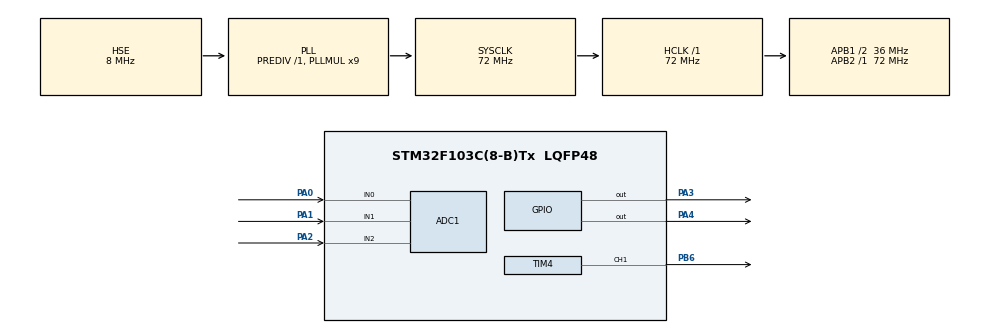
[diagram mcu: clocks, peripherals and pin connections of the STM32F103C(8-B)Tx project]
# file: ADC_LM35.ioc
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ADC1.Channel-0\#ChannelRegularConversion=ADC_CHANNEL_0
ADC1.Channel-1\#ChannelRegularConversion=ADC_CHANNEL_1
ADC1.Channel-2\#ChannelRegularConversion=ADC_CHANNEL_2
ADC1.ContinuousConvMode=ENABLE
ADC1.NbrOfConversion=3
ADC1.NbrOfConversionFlag=1
ADC1.Rank-0\#ChannelRegularConversion=1
ADC1.Rank-1\#ChannelRegularConversion=2
ADC1.Rank-2\#ChannelRegularConversion=3
ADC1.SamplingTime-0\#ChannelRegularConversion=ADC_SAMPLETIME_71CYCLES_5
ADC1.SamplingTime-1\#ChannelRegularConversion=ADC_SAMPLETIME_71CYCLES_5
ADC1.SamplingTime-2\#ChannelRegularConversion=ADC_SAMPLETIME_71CYCLES_5
ADC1.master=1
Mcu.Family=STM32F1
Mcu.Name=STM32F103C(8-B)Tx
Mcu.Package=LQFP48
NVIC.PriorityGroup=NVIC_PRIORITYGROUP_4
PA0-WKUP.Signal=ADCx_IN0
PA1.Signal=ADCx_IN1
PA13.Mode=Serial_Wire
PA13.Signal=SYS_JTMS-SWDIO
PA14.Mode=Serial_Wire
PA14.Signal=SYS_JTCK-SWCLK
PA2.Signal=ADCx_IN2
PA3.Signal=GPIO_Output
PA4.Signal=GPIO_Output
PB6.Signal=S_TIM4_CH1
PD0-OSC_IN.Mode=HSE-External-Oscillator
PD0-OSC_IN.Signal=RCC_OSC_IN
PD1-OSC_OUT.Mode=HSE-External-Oscillator
PD1-OSC_OUT.Signal=RCC_OSC_OUT
ProjectManager.HeapSize=0x200
ProjectManager.StackSize=0x400
ProjectManager.TargetToolchain=STM32CubeIDE
RCC.ADCPresc=RCC_ADCPCLK2_DIV6
RCC.AHBFreq_Value=72000000
RCC.APB1CLKDivider=RCC_HCLK_DIV2
RCC.APB1Freq_Value=36000000
RCC.APB1TimFreq_Value=72000000
RCC.APB2Freq_Value=72000000
RCC.APB2TimFreq_Value=72000000
RCC.HCLKFreq_Value=72000000
RCC.PLLMUL=RCC_PLL_MUL9
RCC.PLLSourceVirtual=RCC_PLLSOURCE_HSE
RCC.SYSCLKFreq_VALUE=72000000
RCC.SYSCLKSource=RCC_SYSCLKSOURCE_PLLCLK
RCC.USBFreq_Value=72000000
SH.ADCx_IN0.0=ADC1_IN0,IN0
SH.ADCx_IN1.0=ADC1_IN1,IN1
SH.ADCx_IN2.0=ADC1_IN2,IN2
SH.S_TIM4_CH1.0=TIM4_CH1,PWM Generation1 CH1
TIM4.AutoReloadPreload=TIM_AUTORELOAD_PRELOAD_ENABLE
TIM4.Channel-PWM\ Generation1\ CH1=TIM_CHANNEL_1
TIM4.Period=1000
TIM4.Prescaler=7200-1
TIM4.Pulse-PWM\ Generation1\ CH1=100
VP_TIM4_VS_ClockSourceINT.Mode=Internal
board=custom

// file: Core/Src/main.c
/* USER CODE BEGIN Header */
/**
  ******************************************************************************
  * @file           : main.c
  * @brief          : Main program body
  ******************************************************************************
  * @attention
  *
  * Copyright (c) 2023 STMicroelectronics.
  * All rights reserved.
  *
  * This software is licensed under terms that can be found in the LICENSE file
  * in the root directory of this software component.
  * If no LICENSE file comes with this software, it is provided AS-IS.
  *
  ******************************************************************************
  */
/* USER CODE END Header */
#include "main.h"

ADC_HandleTypeDef hadc1;

TIM_HandleTypeDef htim4;

/* USER CODE BEGIN PV */
//uint8_t TxData[]="hi";
/* USER CODE END PV */

void SystemClock_Config(void);
static void MX_GPIO_Init(void);
static void MX_ADC1_Init(void);
static void MX_TIM4_Init(void);

/* USER CODE BEGIN 0 */
void ADC_Select_CH0 ()
{
	  ADC_ChannelConfTypeDef sConfig = {0};
	  sConfig.Channel = ADC_CHANNEL_0;
	  sConfig.Rank = ADC_REGULAR_RANK_1;
	  sConfig.SamplingTime = ADC_SAMPLETIME_71CYCLES_5;
	  if (HAL_ADC_ConfigChannel(&hadc1, &sConfig) != HAL_OK)
	  {
	    Error_Handler();
	  }

}

void ADC_Select_CH1 ()
{
	  ADC_ChannelConfTypeDef sConfig = {0};
	  /** Configure Regular Channel
	  */
	  sConfig.Channel = ADC_CHANNEL_1;
	  sConfig.Rank = ADC_REGULAR_RANK_1;
	  if (HAL_ADC_ConfigChannel(&hadc1, &sConfig) != HAL_OK)
	  {
	    Error_Handler();
	  }
}
void ADC_Select_CH2 ()
{
	  ADC_ChannelConfTypeDef sConfig = {0};
	  /** Configure Regular Channel
	  */
	  sConfig.Channel = ADC_CHANNEL_2;
	  sConfig.Rank = ADC_REGULAR_RANK_1;
	  if (HAL_ADC_ConfigChannel(&hadc1, &sConfig) != HAL_OK)
	  {
	    Error_Handler();
	  }

}

uint16_t ADC_Val[3];

//uint16_t readValue;

#define TwoPowerResolution	4096   //12 bit res
//---------------------Temperature sensor----------------------------//
uint8_t temp_val;
#define Temp_Vref 3000
//---------------------voltage sensor----------------------------//
#define Volt_Vref 3.4  //volt
float volt_val;
float volt_divider_val=5;
float volt=0.0;
uint8_t check=0;
uint8_t single_SOC;
uint8_t triple_SOC;
//  R1=8k;
//  R2=2k;

//---------------------current sensor----------------------------//
//website
//https://www.engineersgarage.com/acs712-current-sensor-with-arduino/
//http://www.energiazero.org/arduino_sensori/acs712%2030a%20range%20current%20sensor.pdf
// voltage divider : Vcc = Vout * 2000/3000  R1=1k R2=2k
float current_val;
float current_adc_volt;
float current_adc_raw;

#define Current_Vref 5000  //current
#define current_offset	2500 //Vcc/2
#define current_Sensitivity	185
//-------------------HW protection links---------------------//
//https://www.circuits-diy.com/short-circuit-protection-circuit/

//--------------------motor------------------------------------//
uint16_t  speed=900; //900 to 100

/* USER CODE END 0 */

int main(void)
{

  /* MCU Configuration--------------------------------------------------------*/

  /* Reset of all peripherals, Initializes the Flash interface and the Systick. */
  HAL_Init();

  /* Configure the system clock */
  SystemClock_Config();

  /* Initialize all configured peripherals */
  MX_GPIO_Init();
  MX_ADC1_Init();
  MX_TIM4_Init();
  /* USER CODE BEGIN 2 */
  HAL_TIM_PWM_Start(&htim4,TIM_CHANNEL_1 );
  //Motor initial direction
  HAL_GPIO_WritePin(GPIOA, GPIO_PIN_11, GPIO_PIN_RESET);
  HAL_GPIO_WritePin(GPIOA, GPIO_PIN_12, GPIO_PIN_SET);
  __HAL_TIM_SET_COMPARE(&htim4, TIM_CHANNEL_1, speed);

  /* USER CODE END 2 */

  /* Infinite loop */
  while (1)
  {

    /* USER CODE BEGIN 3 */
	    //------------------------------temperature-----------------------------------//
	    ADC_Select_CH0();
	    HAL_ADC_Start(&hadc1);
		HAL_ADC_PollForConversion(&hadc1,1000);
		ADC_Val[0] = HAL_ADC_GetValue(&hadc1);
		HAL_ADC_Stop(&hadc1);
		temp_val = ((ADC_Val[0]* Temp_Vref )/TwoPowerResolution)/10;	/* LM35 gives output of 10mv/°C */
	    //------------------------------volt-----------------------------------//
		ADC_Select_CH1();
	    HAL_ADC_Start(&hadc1);
	    HAL_ADC_PollForConversion(&hadc1,1000);
	    ADC_Val[1] = HAL_ADC_GetValue(&hadc1);
	    HAL_ADC_Stop(&hadc1);
	    volt = (((float)ADC_Val[1] * Volt_Vref)*volt_divider_val )/TwoPowerResolution;	/* voltage */
	    single_SOC=(volt-3)*100;
	    triple_SOC=((volt-9)*100)/3;
//		volt=volt_val*5;  //(R2/(R1+R2))
	    //------------------------------current-----------------------------------//
	    ADC_Select_CH2();
		HAL_ADC_Start(&hadc1);
		HAL_ADC_PollForConversion(&hadc1,1000);
		ADC_Val[2] = HAL_ADC_GetValue(&hadc1);
		HAL_ADC_Stop(&hadc1);
		current_adc_raw = HAL_ADC_GetValue(&hadc1);
		current_adc_volt = (current_adc_raw*Current_Vref)/TwoPowerResolution;
 		current_val =(current_adc_volt - current_offset)/current_Sensitivity ;
 		//reset to active
 		//pin3=set >connect to float
 		//pin3=reset >connect to charger
 		//pin4=set >connect to  system
 		//pin4=reset >connect to float
 		if((uint8_t)volt<=9)
 		{
 			//disconnect system (under voltage) and connect charger
 			check=1;
 			HAL_GPIO_WritePin(GPIOA, GPIO_PIN_3, GPIO_PIN_RESET);
 			HAL_GPIO_WritePin(GPIOA, GPIO_PIN_4, GPIO_PIN_RESET);
 		}
 		else if((uint8_t)volt>12)
 		{
 			//disconnect charger (over voltage) max PWM
 			check=2;
 			HAL_GPIO_WritePin(GPIOA, GPIO_PIN_3, GPIO_PIN_SET);
 			HAL_GPIO_WritePin(GPIOA, GPIO_PIN_4, GPIO_PIN_SET);
 		}
 		else if(temp_val>50)
 		{
 			//disconnect all
 			check=3;
 			HAL_GPIO_WritePin(GPIOA, GPIO_PIN_3, GPIO_PIN_SET);
 			HAL_GPIO_WritePin(GPIOA, GPIO_PIN_4, GPIO_PIN_RESET);
 		}
 		else if((uint8_t)current_val>1)
 		{
 			//disconnect all
 			check=4;
 			HAL_GPIO_WritePin(GPIOA, GPIO_PIN_3, GPIO_PIN_SET);
 			HAL_GPIO_WritePin(GPIOA, GPIO_PIN_4, GPIO_PIN_RESET);
 		}
 		else if((uint8_t)current_val>0.8)
 		{
 			//warning
 			check=5;

 		}
 		else if(50>temp_val && temp_val>45)
 		{
 			//PWM 40%
 			check=6;
 			speed=250;
 			__HAL_TIM_SET_COMPARE(&htim4, TIM_CHANNEL_1, speed);

 		}
 		else if(45>temp_val && temp_val>40)
 		{
 			//PWM 60%
 			check=7;
 			speed=500;
 			__HAL_TIM_SET_COMPARE(&htim4, TIM_CHANNEL_1, speed);
 		}
 		else if(40>triple_SOC && triple_SOC>10)
 		{
 			//PWM 40% + warning
 			check=8;
 			speed=250;
 			__HAL_TIM_SET_COMPARE(&htim4, TIM_CHANNEL_1, speed);
 		}
 		else if(40>temp_val && temp_val>35)
 		{
 			//PWM 80% + warning
 			check=9;
 			speed=700;
 			__HAL_TIM_SET_COMPARE(&htim4, TIM_CHANNEL_1, speed);
 		}
 		else
 		{
 			check=10;
 			speed=900;
 			__HAL_TIM_SET_COMPARE(&htim4, TIM_CHANNEL_1, speed);
 			HAL_GPIO_WritePin(GPIOA, GPIO_PIN_3|GPIO_PIN_4, GPIO_PIN_SET);
 		}

// 		HAL_UART_Transmit(&huart1, TxData, sizeof(TxData), 1000);
// 		HAL_UART_Transmit(&huart1,(const uint8_t *)"\n", 2, 1000);
// 		HAL_UART_Transmit(&huart1, ADC_Val[1], sizeof(ADC_Val), 1000);
// 		HAL_UART_Transmit(&huart1, "\n", 1, 1000);
// 		HAL_UART_Transmit(&huart1, ADC_Val[2], sizeof(ADC_Val), 1000);
// 		HAL_UART_Transmit(&huart1, "\n", 1, 1000);

		HAL_Delay(1000);

  }
  /* USER CODE END 3 */
}

void SystemClock_Config(void)
{
  RCC_OscInitTypeDef RCC_OscInitStruct = {0};
  RCC_ClkInitTypeDef RCC_ClkInitStruct = {0};
  RCC_PeriphCLKInitTypeDef PeriphClkInit = {0};

  /** Initializes the RCC Oscillators according to the specified parameters
  * in the RCC_OscInitTypeDef structure.
  */
  RCC_OscInitStruct.OscillatorType = RCC_OSCILLATORTYPE_HSE;
  RCC_OscInitStruct.HSEState = RCC_HSE_ON;
  RCC_OscInitStruct.HSEPredivValue = RCC_HSE_PREDIV_DIV1;
  RCC_OscInitStruct.HSIState = RCC_HSI_ON;
  RCC_OscInitStruct.PLL.PLLState = RCC_PLL_ON;
  RCC_OscInitStruct.PLL.PLLSource = RCC_PLLSOURCE_HSE;
  RCC_OscInitStruct.PLL.PLLMUL = RCC_PLL_MUL9;
  if (HAL_RCC_OscConfig(&RCC_OscInitStruct) != HAL_OK)
  {
    Error_Handler();
  }

  /** Initializes the CPU, AHB and APB buses clocks
  */
  RCC_ClkInitStruct.ClockType = RCC_CLOCKTYPE_HCLK|RCC_CLOCKTYPE_SYSCLK
                              |RCC_CLOCKTYPE_PCLK1|RCC_CLOCKTYPE_PCLK2;
  RCC_ClkInitStruct.SYSCLKSource = RCC_SYSCLKSOURCE_PLLCLK;
  RCC_ClkInitStruct.AHBCLKDivider = RCC_SYSCLK_DIV1;
  RCC_ClkInitStruct.APB1CLKDivider = RCC_HCLK_DIV2;
  RCC_ClkInitStruct.APB2CLKDivider = RCC_HCLK_DIV1;

  if (HAL_RCC_ClockConfig(&RCC_ClkInitStruct, FLASH_LATENCY_2) != HAL_OK)
  {
    Error_Handler();
  }
  PeriphClkInit.PeriphClockSelection = RCC_PERIPHCLK_ADC;
  PeriphClkInit.AdcClockSelection = RCC_ADCPCLK2_DIV6;
  if (HAL_RCCEx_PeriphCLKConfig(&PeriphClkInit) != HAL_OK)
  {
    Error_Handler();
  }
}

static void MX_ADC1_Init(void)
{

  ADC_ChannelConfTypeDef sConfig = {0};

  /** Common config
  */
  hadc1.Instance = ADC1;
  hadc1.Init.ScanConvMode = ADC_SCAN_ENABLE;
  hadc1.Init.ContinuousConvMode = ENABLE;
  hadc1.Init.DiscontinuousConvMode = DISABLE;
  hadc1.Init.ExternalTrigConv = ADC_SOFTWARE_START;
  hadc1.Init.DataAlign = ADC_DATAALIGN_RIGHT;
  hadc1.Init.NbrOfConversion = 1;
  if (HAL_ADC_Init(&hadc1) != HAL_OK)
  {
    Error_Handler();
  }

//  /** Configure Regular Channel
//  */
//  sConfig.Channel = ADC_CHANNEL_0;
//  sConfig.Rank = ADC_REGULAR_RANK_1;
//  sConfig.SamplingTime = ADC_SAMPLETIME_71CYCLES_5;
//  if (HAL_ADC_ConfigChannel(&hadc1, &sConfig) != HAL_OK)
//  {
//    Error_Handler();
//  }
//
//  /** Configure Regular Channel
//  */
//  sConfig.Channel = ADC_CHANNEL_1;
//  sConfig.Rank = ADC_REGULAR_RANK_2;
//  if (HAL_ADC_ConfigChannel(&hadc1, &sConfig) != HAL_OK)
//  {
//    Error_Handler();
//  }
//
//  /** Configure Regular Channel
//  */
//  sConfig.Channel = ADC_CHANNEL_2;
//  sConfig.Rank = ADC_REGULAR_RANK_3;
//  if (HAL_ADC_ConfigChannel(&hadc1, &sConfig) != HAL_OK)
//  {
//    Error_Handler();
//  }
  /* USER CODE BEGIN ADC1_Init 2 */
//
  /* USER CODE END ADC1_Init 2 */

}

static void MX_TIM4_Init(void)
{

  TIM_ClockConfigTypeDef sClockSourceConfig = {0};
  TIM_MasterConfigTypeDef sMasterConfig = {0};
  TIM_OC_InitTypeDef sConfigOC = {0};

  htim4.Instance = TIM4;
  htim4.Init.Prescaler = 7200-1;
  htim4.Init.CounterMode = TIM_COUNTERMODE_UP;
  htim4.Init.Period = 1000;
  htim4.Init.ClockDivision = TIM_CLOCKDIVISION_DIV1;
  htim4.Init.AutoReloadPreload = TIM_AUTORELOAD_PRELOAD_ENABLE;
  if (HAL_TIM_Base_Init(&htim4) != HAL_OK)
  {
    Error_Handler();
  }
  sClockSourceConfig.ClockSource = TIM_CLOCKSOURCE_INTERNAL;
  if (HAL_TIM_ConfigClockSource(&htim4, &sClockSourceConfig) != HAL_OK)
  {
    Error_Handler();
  }
  if (HAL_TIM_PWM_Init(&htim4) != HAL_OK)
  {
    Error_Handler();
  }
  sMasterConfig.MasterOutputTrigger = TIM_TRGO_RESET;
  sMasterConfig.MasterSlaveMode = TIM_MASTERSLAVEMODE_DISABLE;
  if (HAL_TIMEx_MasterConfigSynchronization(&htim4, &sMasterConfig) != HAL_OK)
  {
    Error_Handler();
  }
  sConfigOC.OCMode = TIM_OCMODE_PWM1;
  sConfigOC.Pulse = 100;
  sConfigOC.OCPolarity = TIM_OCPOLARITY_HIGH;
  sConfigOC.OCFastMode = TIM_OCFAST_DISABLE;
  if (HAL_TIM_PWM_ConfigChannel(&htim4, &sConfigOC, TIM_CHANNEL_1) != HAL_OK)
  {
    Error_Handler();
  }
  HAL_TIM_MspPostInit(&htim4);

}

static void MX_GPIO_Init(void)
{
  GPIO_InitTypeDef GPIO_InitStruct = {0};

  /* GPIO Ports Clock Enable */
  __HAL_RCC_GPIOD_CLK_ENABLE();
  __HAL_RCC_GPIOA_CLK_ENABLE();
  __HAL_RCC_GPIOB_CLK_ENABLE();

  /*Configure GPIO pin Output Level */
  HAL_GPIO_WritePin(GPIOA, GPIO_PIN_3|GPIO_PIN_4, GPIO_PIN_RESET);

  /*Configure GPIO pins : PA3 PA4 */
  GPIO_InitStruct.Pin = GPIO_PIN_3|GPIO_PIN_4;
  GPIO_InitStruct.Mode = GPIO_MODE_OUTPUT_PP;
  GPIO_InitStruct.Pull = GPIO_NOPULL;
  GPIO_InitStruct.Speed = GPIO_SPEED_FREQ_LOW;
  HAL_GPIO_Init(GPIOA, &GPIO_InitStruct);

}

void Error_Handler(void)
{
  __disable_irq();
  while (1)
  {
  }
}
